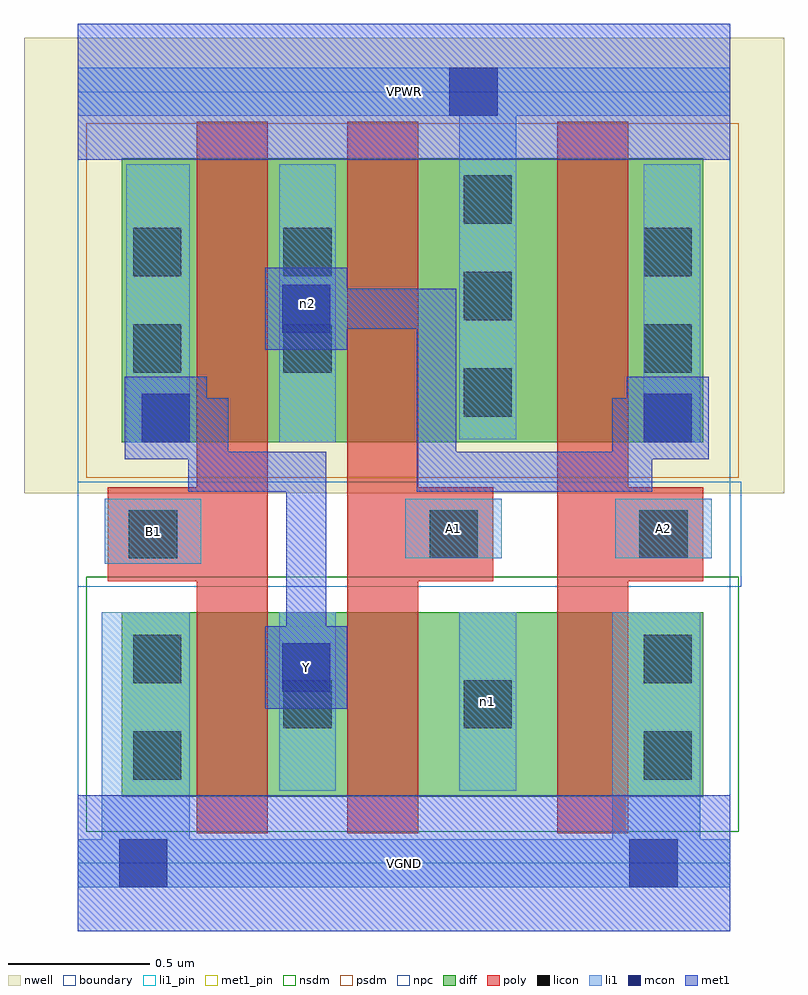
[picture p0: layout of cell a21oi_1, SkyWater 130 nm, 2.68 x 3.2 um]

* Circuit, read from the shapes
.subckt a21oi_1 A1 A2 B1 VGND VPWR Y n1 n2
XM1 Y B1 VGND VSUBS sky130_fd_pr__nfet_01v8 w=0.65 l=0.25
XM2 n1 A1 Y VSUBS sky130_fd_pr__nfet_01v8 w=0.65 l=0.25
XM3 VGND A2 n1 VSUBS sky130_fd_pr__nfet_01v8 w=0.65 l=0.25
XM4 n2 B1 Y n3 sky130_fd_pr__pfet_01v8 w=1 l=0.25
XM5 VPWR A1 n2 n3 sky130_fd_pr__pfet_01v8 w=1 l=0.25
XM6 n2 A2 VPWR n3 sky130_fd_pr__pfet_01v8 w=1 l=0.25
.ends

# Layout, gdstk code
import gdstk
lib = gdstk.Library(unit=1e-6, precision=1e-09)
def R(c, l, rs):  # rectangles x0, y0, x1, y1
    for r in rs: c.add(gdstk.rectangle(r[:2], r[2:], *l))
def A(c, l, x, y, w, h, nx, ny, dx, dy):  # array of equal rectangles
    R(c, l, [(x+i*dx, y+j*dy, x+i*dx+w, y+j*dy+h) for i in range(nx) for j in range(ny)])
nwell = (64, 20)
diff = (65, 20)
poly = (66, 20)
licon = (66, 44)
li1_pin = (67, 16)
li1 = (67, 20)
mcon = (67, 44)
met1_pin = (68, 16)
met1 = (68, 20)
nsdm = (93, 44)
psdm = (94, 20)
npc = (95, 20)
boundary = (235, 4)

a21oi_1 = lib.new_cell('a21oi_1')
R(a21oi_1, nwell, [(-0.19,1.305,2.49,2.91), (0,1.305,2.3,2.91)])
R(a21oi_1, diff, [(0.155,0.235,2.205,0.885), (0.155,1.485,2.205,2.485)])
R(a21oi_1, poly, [(0.42,0.105,0.67,2.615), (0.95,0.105,1.2,2.615), (1.69,0.105,1.94,2.615), (0.105,0.995,0.67,1.325), (0.95,0.995,1.465,1.325), (1.69,0.995,2.205,1.325)])
A(a21oi_1, licon, 1.36, 1.575, 0.17, 0.17, 1, 3, 0, 0.34)
R(a21oi_1, licon, [(0.195,0.295,0.365,0.465), (1.995,0.295,2.165,0.465), (0.725,0.475,0.895,0.645), (1.36,0.475,1.53,0.645), (0.195,0.635,0.365,0.805), (1.995,0.635,2.165,0.805), (0.18,1.075,0.35,1.245), (1.24,1.075,1.41,1.245), (1.98,1.075,2.15,1.245), (0.195,1.73,0.365,1.9), (0.725,1.73,0.895,1.9), (1.995,1.73,2.165,1.9), (0.195,2.07,0.365,2.24), (0.725,2.07,0.895,2.24), (1.995,2.07,2.165,2.24)])
R(a21oi_1, li1_pin, [(0.095,1.055,0.435,1.285), (1.155,1.075,1.495,1.285), (1.895,1.075,2.235,1.285)])
R(a21oi_1, li1, [(0,-0.085,2.3,0.085), (0.085,-0.085,0.395,0.885), (1.885,-0.085,2.195,0.885), (0.71,0.255,0.91,0.885), (1.345,0.255,1.545,0.885), (0.095,1.055,0.435,1.285), (1.155,1.075,1.495,1.285), (1.895,1.075,2.235,1.285), (0.17,1.485,0.395,2.465), (0.71,1.485,0.91,2.465), (1.995,1.485,2.195,2.465), (1.345,1.495,1.545,2.805), (0,2.635,2.3,2.805)])
R(a21oi_1, mcon, [(0.145,-0.085,0.315,0.085), (1.945,-0.085,2.115,0.085), (0.72,0.605,0.89,0.775), (0.225,1.485,0.395,1.655), (1.995,1.485,2.165,1.655), (0.72,1.87,0.89,2.04), (1.31,2.635,1.48,2.805)])
R(a21oi_1, met1_pin, [(0,-0.24,2.3,0.24), (0.66,0.545,0.95,0.835), (0,2.48,2.3,2.96)])
R(a21oi_1, met1, [(0,-0.24,2.3,0.24), (0.66,0.545,0.95,0.835), (0.735,0.62,0.875,1.45), (0.39,1.31,0.53,1.64), (0.39,1.31,0.875,1.45), (1.195,1.31,1.335,2.025), (1.195,1.31,2.025,1.45), (1.885,1.31,2.025,1.64), (0.165,1.425,0.455,1.715), (1.935,1.425,2.225,1.715), (0.24,1.5,0.53,1.64), (1.885,1.5,2.15,1.64), (0.66,1.81,0.95,2.1), (0.735,1.885,1.335,2.025), (0,2.48,2.3,2.96)])
R(a21oi_1, nsdm, [(0.03,0.11,2.33,1.01)])
R(a21oi_1, psdm, [(0.03,1.36,2.33,2.61)])
R(a21oi_1, npc, [(0,0.975,2.34,1.345)])
R(a21oi_1, boundary, [(0,0,2.3,2.72)])
a21oi_1.add(gdstk.Label('A1', (1.325,1.18), layer=67, texttype=5))
a21oi_1.add(gdstk.Label('A2', (2.065,1.18), layer=67, texttype=5))
a21oi_1.add(gdstk.Label('B1', (0.265,1.17), layer=67, texttype=5))
a21oi_1.add(gdstk.Label('n2', (0.81,1.975), layer=67, texttype=5))
a21oi_1.add(gdstk.Label('n1', (1.445,0.57), layer=67, texttype=5))
a21oi_1.add(gdstk.Label('Y', (0.805,0.69), layer=68, texttype=5))
a21oi_1.add(gdstk.Label('VPWR', (1.15,2.72), layer=68, texttype=5))
a21oi_1.add(gdstk.Label('VGND', (1.15,0), layer=68, texttype=5))
a21oi_1.add(gdstk.Label('A1', (1.325,1.18), layer=67, texttype=16))
a21oi_1.add(gdstk.Label('A2', (2.065,1.18), layer=67, texttype=16))
a21oi_1.add(gdstk.Label('B1', (0.265,1.17), layer=67, texttype=16))
a21oi_1.add(gdstk.Label('Y', (0.805,0.69), layer=68, texttype=16))
a21oi_1.add(gdstk.Label('VPWR', (1.15,2.72), layer=68, texttype=16))
a21oi_1.add(gdstk.Label('VGND', (1.15,0), layer=68, texttype=16))

lib.write_gds('a21oi_1.gds')
